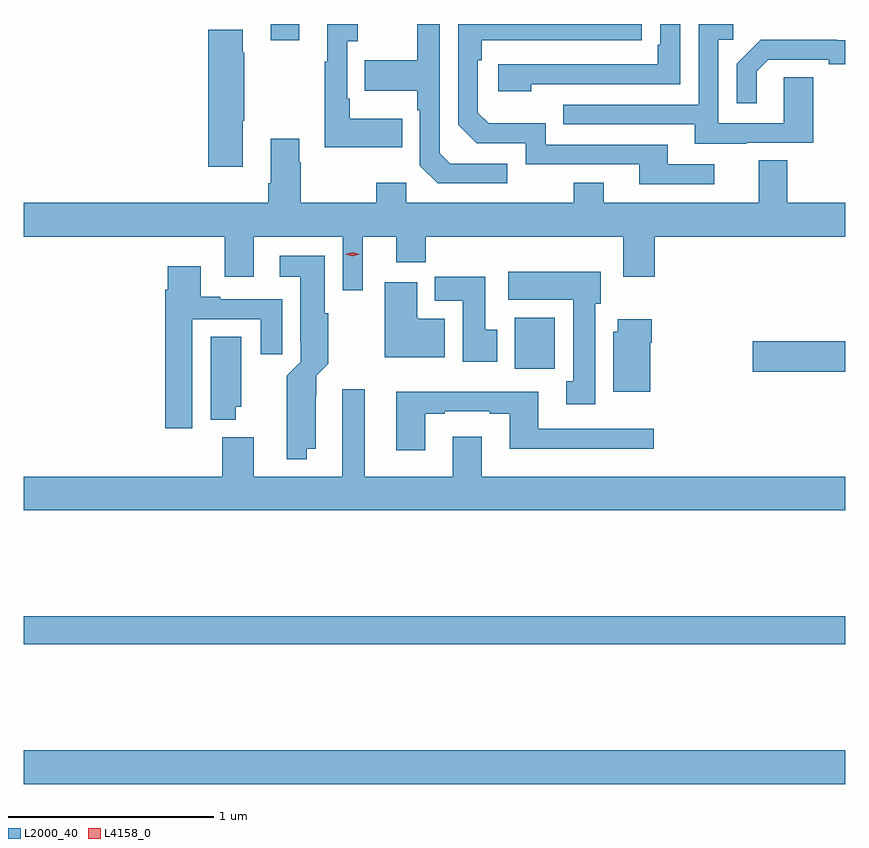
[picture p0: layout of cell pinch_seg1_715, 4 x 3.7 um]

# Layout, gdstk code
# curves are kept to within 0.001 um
import gdstk
lib = gdstk.Library(unit=1e-6, precision=1e-09)
def R(c, l, rs):  # rectangles x0, y0, x1, y1
    for r in rs: c.add(gdstk.rectangle(r[:2], r[2:], *l))
def P(c, l, *ps):  # polygons
    for p in ps: c.add(gdstk.Polygon(p, *l))
L2000_40 = (2000, 40)
L4158_0 = (4158, 0)

pinch_seg1_715 = lib.new_cell('pinch_seg1_715')
R(pinch_seg1_715, L2000_40, [(670.611,518.432,674.611,518.596), (670.611,519.112,674.611,519.248), (674.16,520.439,674.611,520.586), (673.001,520.452,673.197,520.702), (671.813,522.051,671.953,522.131)])
P(pinch_seg1_715, L2000_40, [(673.972,521.448),(673.747,521.448),(673.747,521.544),(673.152,521.544),(673.152,521.647),(672.875,521.647),(672.822,521.7),(672.822,521.954),(672.842,521.954),(672.842,522.051),(673.619,522.052),(673.619,522.131),(672.726,522.131),(672.726,521.64),(672.816,521.55),(673.056,521.55),(673.056,521.448),(673.607,521.448),(673.607,521.352),(673.972,521.352)],
  [(672.964,521.451),(672.687,521.451),(672.636,521.502),(672.636,522.131),(672.528,522.131),(672.528,521.955),(672.271,521.955),(672.271,521.807),(672.528,521.807),(672.528,521.711),(672.54,521.711),(672.54,521.442),(672.627,521.355),(672.964,521.355)],
  [(672.455,521.671),(672.199,521.671),(672.199,521.767),(672.186,521.767),(672.186,522.047),(672.238,522.047),(672.238,522.131),(672.089,522.131),(672.089,521.947),(672.078,521.947),(672.078,521.531),(672.455,521.531)],
  [(673.082,521.838),(673.806,521.838),(673.806,522.131),(673.71,522.131),(673.71,522.031),(673.697,522.031),(673.697,521.934),(672.921,521.934),(672.921,521.804),(673.082,521.804)],
  [(674.131,521.553),(674.455,521.553),(674.455,521.873),(674.31,521.873),(674.31,521.649),(673.992,521.649),(673.992,522.054),(674.065,522.054),(674.065,522.131),(673.896,522.131),(673.896,521.739),(673.237,521.739),(673.237,521.643),(673.877,521.643),(673.877,521.549),(674.131,521.549)],
  [(671.677,521.659),(671.685,521.659),(671.685,521.99),(671.677,521.99),(671.677,522.103),(671.51,522.103),(671.51,521.436),(671.677,521.436)],
  [(674.179,521.901),(674.236,521.958),(674.531,521.958),(674.531,521.936),(674.611,521.936),(674.611,522.051),(674.57,522.051),(674.57,522.054),(674.198,522.054),(674.082,521.938),(674.082,521.745),(674.179,521.745)],
  [(672.262,521.096),(672.425,521.096),(672.425,520.972),(672.569,520.972),(672.569,521.096),(673.529,521.096),(673.529,520.902),(673.682,520.902),(673.682,521.096),(674.611,521.096),(674.611,521.26),(674.329,521.26),(674.329,521.468),(674.189,521.468),(674.189,521.26),(673.435,521.26),(673.435,521.359),(673.288,521.359),(673.288,521.26),(672.474,521.26),(672.474,521.359),(672.328,521.359),(672.328,521.26),(671.961,521.26),(671.961,521.459),(671.953,521.459),(671.953,521.572),(671.813,521.572),(671.813,521.356),(671.801,521.356),(671.801,521.26),(670.611,521.26),(670.611,521.096),(671.591,521.096),(671.591,520.902),(671.731,520.902),(671.731,521.096),(672.165,521.096),(672.165,520.836),(672.262,520.836)],
  [(671.989,520.064),(672.034,520.064),(672.035,520.418),(672.094,520.477),(672.094,520.722),(672.076,520.722),(672.076,521.002),(671.859,521.002),(671.859,520.901),(671.957,520.901),(671.957,520.582),(671.961,520.582),(671.961,520.488),(671.891,520.418),(671.892,520.013),(671.989,520.013)],
  [(671.431,520.695),(671.765,520.695),(671.765,520.524),(671.869,520.524),(671.869,520.791),(671.569,520.791),(671.569,520.804),(671.473,520.804),(671.473,520.951),(671.312,520.951),(671.312,520.838),(671.3,520.838),(671.3,520.164),(671.431,520.164)],
  [(673.393,520.77),(673.42,520.77),(673.42,520.924),(672.969,520.924),(672.969,520.79),(673.286,520.79),(673.286,520.393),(673.253,520.393),(673.253,520.281),(673.393,520.281)],
  [(672.916,520.644),(672.859,520.644),(672.859,520.902),(672.611,520.902),(672.611,520.784),(672.749,520.784),(672.749,520.488),(672.916,520.488)],
  [(672.661,520.696),(672.532,520.696),(672.532,520.702),(672.526,520.702),(672.526,520.873),(672.368,520.873),(672.368,520.508),(672.661,520.508)],
  [(673.66,520.58),(673.668,520.58),(673.668,520.693),(673.502,520.693),(673.502,520.632),(673.481,520.632),(673.481,520.34),(673.66,520.34)],
  [(671.644,520.269),(671.671,520.269),(671.671,520.61),(671.522,520.61),(671.522,520.205),(671.644,520.205)],
  [(674.611,519.928),(672.841,519.928),(672.841,520.123),(672.701,520.123),(672.701,519.928),(672.271,519.928),(672.271,520.354),(672.161,520.354),(672.161,519.928),(671.731,519.928),(671.731,520.12),(671.579,520.12),(671.579,519.928),(670.611,519.928),(670.611,519.764),(674.611,519.764)],
  [(672.565,520.233),(672.661,520.233),(672.661,520.245),(672.881,520.245),(672.881,520.233),(672.977,520.233),(672.977,520.064),(673.678,520.064),(673.678,520.161),(673.117,520.161),(673.117,520.342),(672.425,520.342),(672.425,520.056),(672.565,520.056)])
P(pinch_seg1_715, L4158_0, [(672.213,521),(672.177,521.01),(672.177,521.01),(672.177,521.01),(672.213,521.02),(672.248,521.01),(672.248,521.01),(672.248,521.01)])

lib.write_gds('pinch_seg1_715.gds')
